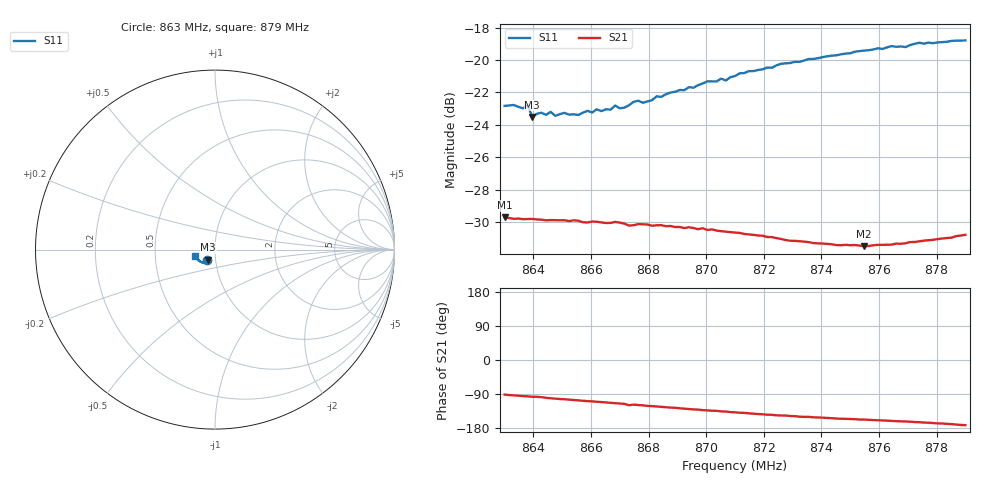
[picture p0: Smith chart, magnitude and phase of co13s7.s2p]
# HZ S RI R 50
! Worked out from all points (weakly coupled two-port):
!   101 points, 863 MHz to 879 MHz, reference 50 ohm
!   highest |S21| = -29.70 dB at 863 MHz (marker M1); lowest = -31.5 dB at 875.48 MHz (marker M2)
!   lowest |S11| = -23.5 dB at 863.96 MHz (marker M3), VSWR 1.14, Z = 46.1 - j5.12 ohm
!   |S11| at or under -10 dB: start of sweep to end of sweep
!   S12 and S22 are empty: the file has one direction only
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8.63e8  -0.0448 -0.0566  -0.000728 -0.0327  0 0  0 0
8.6332e8  -0.0445 -0.0574  -0.00191 -0.0323  0 0  0 0
8.6364e8  -0.0435 -0.0561  -0.00302 -0.0322  0 0  0 0
8.638e8  -0.045 -0.0569  -0.00332 -0.0322  0 0  0 0
8.6396e8  -0.0374 -0.0553  -0.00399 -0.0321  0 0  0 0
8.646e8  -0.0398 -0.0566  -0.00617 -0.0315  0 0  0 0
8.6476e8  -0.0362 -0.0567  -0.00664 -0.0314  0 0  0 0
8.6572e8  -0.0364 -0.0584  -0.00955 -0.0301  0 0  0 0
8.6668e8  -0.0365 -0.0601  -0.0123 -0.029  0 0  0 0
8.6684e8  -0.0359 -0.0629  -0.0129 -0.029  0 0  0 0
8.6716e8  -0.0349 -0.0622  -0.0136 -0.0282  0 0  0 0
8.6748e8  -0.0358 -0.0651  -0.0144 -0.0274  0 0  0 0
8.678e8  -0.0367 -0.0641  -0.0154 -0.0271  0 0  0 0
8.6844e8  -0.0378 -0.0671  -0.0172 -0.0258  0 0  0 0
8.7004e8  -0.0458 -0.0727  -0.0204 -0.0219  0 0  0 0
8.7068e8  -0.0475 -0.0723  -0.0213 -0.0206  0 0  0 0
8.71e8  -0.0507 -0.0734  -0.0219 -0.0197  0 0  0 0
8.726e8  -0.0632 -0.0741  -0.0234 -0.0155  0 0  0 0
8.7372e8  -0.0704 -0.0721  -0.0239 -0.0131  0 0  0 0
8.7548e8  -0.0847 -0.0653  -0.0246 -0.0104  0 0  0 0
8.7644e8  -0.0934 -0.0589  -0.0255 -0.00889  0 0  0 0
8.79e8  -0.1091 -0.0361  -0.0286 -0.00405  0 0  0 0
